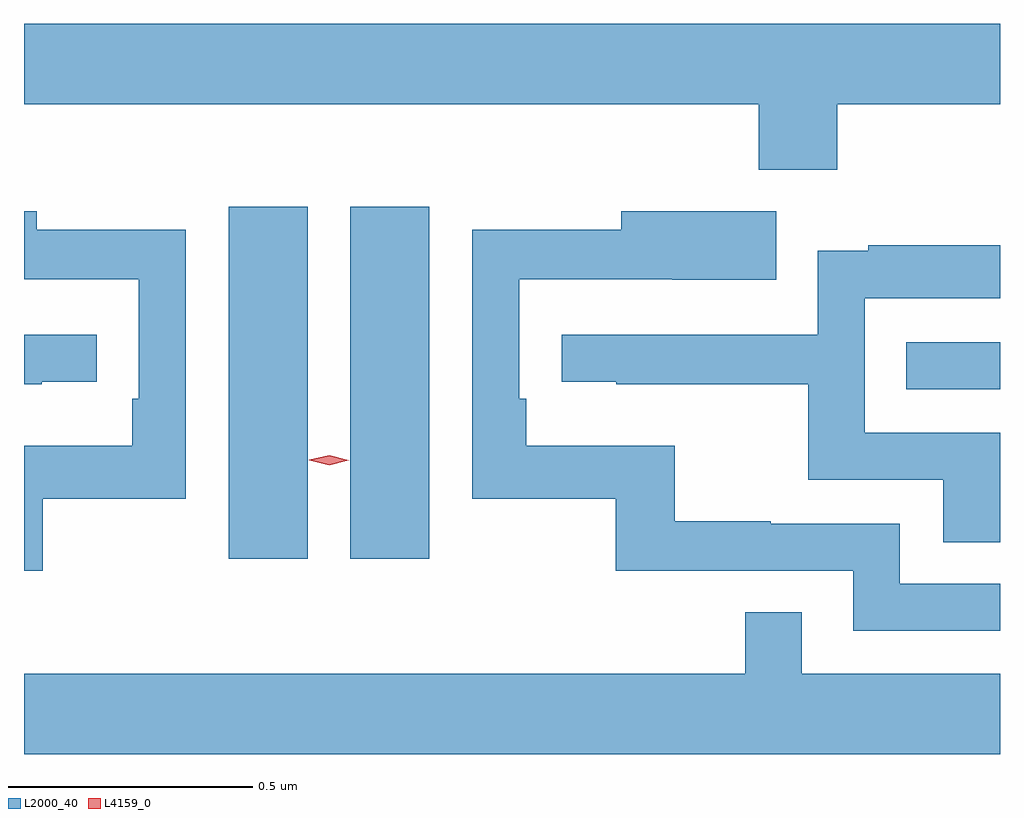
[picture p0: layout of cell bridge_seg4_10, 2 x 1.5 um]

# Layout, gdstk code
import gdstk
lib = gdstk.Library(unit=1e-6, precision=1e-09)
def R(c, l, rs):  # rectangles x0, y0, x1, y1
    for r in rs: c.add(gdstk.rectangle(r[:2], r[2:], *l))
def P(c, l, *ps):  # polygons
    for p in ps: c.add(gdstk.Polygon(p, *l))
L2000_40 = (2000, 40)
L4159_0 = (4159, 0)

bridge_seg4_10 = lib.new_cell('bridge_seg4_10')
R(bridge_seg4_10, L2000_40, [(893.489,778.572,893.65,779.293), (893.738,778.572,893.899,779.293), (894.877,778.92,895.069,779.016)])
P(bridge_seg4_10, L2000_40, [(894.735,779.504),(895.069,779.504),(895.069,779.668),(893.069,779.668),(893.069,779.504),(894.575,779.504),(894.575,779.369),(894.735,779.369)],
  [(893.107,778.695),(893.4,778.695),(893.4,779.246),(893.095,779.246),(893.095,779.284),(893.069,779.284),(893.069,779.145),(893.304,779.145),(893.304,778.9),(893.291,778.9),(893.291,778.804),(893.069,778.804),(893.069,778.548),(893.107,778.548)],
  [(895.069,778.521),(894.864,778.521),(894.864,778.644),(894.599,778.644),(894.599,778.649),(894.403,778.649),(894.403,778.804),(894.098,778.804),(894.098,778.9),(894.084,778.9),(894.084,779.145),(894.397,779.145),(894.397,779.144),(894.611,779.144),(894.611,779.284),(894.293,779.284),(894.293,779.246),(893.988,779.246),(893.988,778.695),(894.282,778.695),(894.282,778.548),(894.768,778.548),(894.768,778.425),(895.069,778.425)],
  [(895.069,778.83),(894.792,778.83),(894.792,779.106),(895.069,779.106),(895.069,779.215),(894.799,779.215),(894.799,779.203),(894.696,779.203),(894.696,779.031),(894.171,779.031),(894.171,778.935),(894.283,778.935),(894.283,778.93),(894.676,778.93),(894.676,778.734),(894.953,778.734),(894.953,778.606),(895.069,778.606)],
  [(893.105,778.935),(893.218,778.935),(893.218,779.031),(893.069,779.031),(893.069,778.93),(893.105,778.93)],
  [(895.069,778.336),(894.663,778.336),(894.663,778.463),(894.547,778.463),(894.547,778.336),(893.069,778.336),(893.069,778.172),(895.069,778.172)])
P(bridge_seg4_10, L4159_0, [(893.694,778.764),(893.654,778.774),(893.654,778.774),(893.654,778.775),(893.694,778.784),(893.734,778.774),(893.734,778.774),(893.734,778.774)])

lib.write_gds('bridge_seg4_10.gds')
